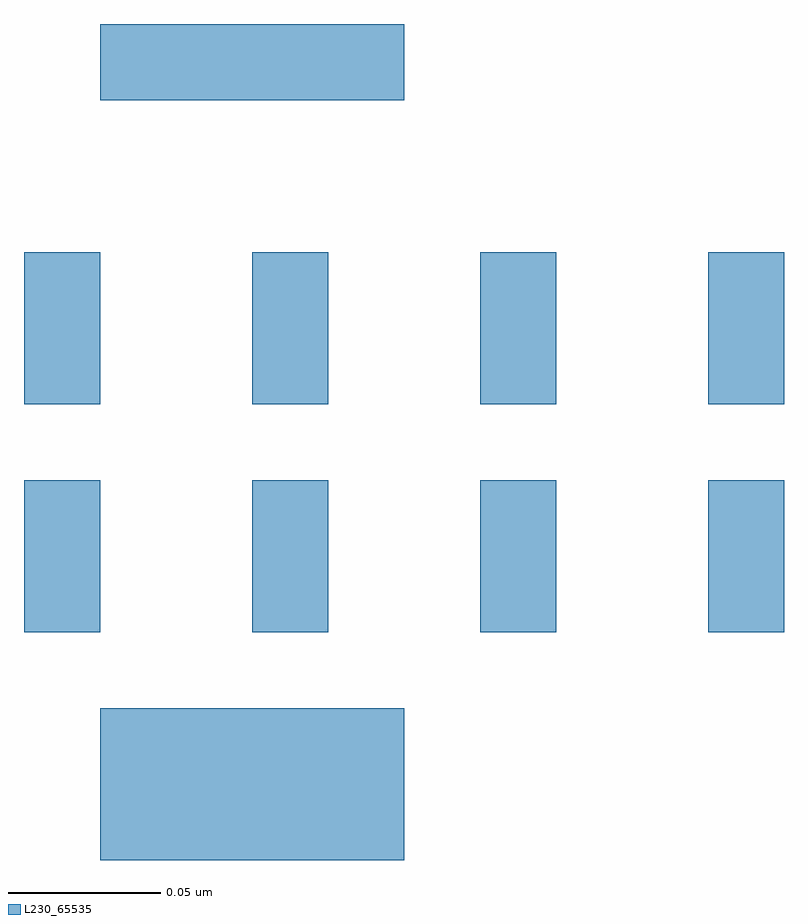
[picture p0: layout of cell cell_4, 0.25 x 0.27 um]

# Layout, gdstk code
import gdstk
lib = gdstk.Library(unit=1e-6, precision=1e-09)
def R(c, l, rs):  # rectangles x0, y0, x1, y1
    for r in rs: c.add(gdstk.rectangle(r[:2], r[2:], *l))
def A(c, l, x, y, w, h, nx, ny, dx, dy):  # array of equal rectangles
    R(c, l, [(x+i*dx, y+j*dy, x+i*dx+w, y+j*dy+h) for i in range(nx) for j in range(ny)])
L230_65535 = (230, 65535)

cell_4 = lib.new_cell('cell_4')
A(cell_4, L230_65535, 0.05, 0.1, 0.025, 0.05, 4, 2, 0.075, 0.075)
R(cell_4, L230_65535, [(0.075,0.025,0.175,0.075), (0.075,0.275,0.175,0.3)])

lib.write_gds('cell_4.gds')
